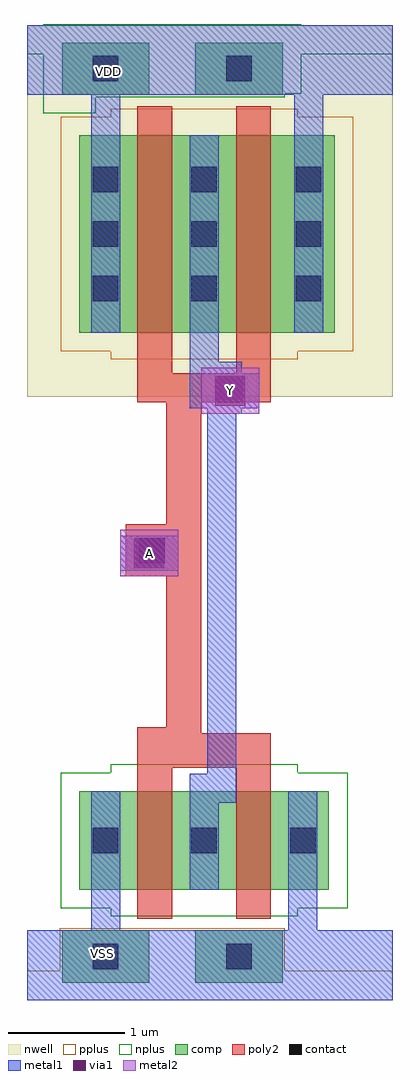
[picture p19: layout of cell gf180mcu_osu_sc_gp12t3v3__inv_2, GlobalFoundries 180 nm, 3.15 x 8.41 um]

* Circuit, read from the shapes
.subckt gf180mcu_osu_sc_gp12t3v3__inv_2 A VDD VSS Y
XM1 Y A VSS VSS nfet_03v3 w=0.85u l=0.3u m=2
XM2 Y A VDD VDD pfet_03v3 w=1.7u l=0.3u m=2
.ends

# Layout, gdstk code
import gdstk
lib = gdstk.Library(unit=1e-6, precision=1e-09)
def R(c, l, rs):  # rectangles x0, y0, x1, y1
    for r in rs: c.add(gdstk.rectangle(r[:2], r[2:], *l))
def A(c, l, x, y, w, h, nx, ny, dx, dy):  # array of equal rectangles
    R(c, l, [(x+i*dx, y+j*dy, x+i*dx+w, y+j*dy+h) for i in range(nx) for j in range(ny)])
nwell = (21, 0)
comp = (22, 0)
poly2 = (30, 0)
pplus = (31, 0)
nplus = (32, 0)
contact = (33, 0)
metal1 = (34, 0)
via1 = (35, 0)
metal2 = (36, 0)

gf180mcu_osu_sc_gp12t3v3 = lib.new_cell('gf180mcu_osu_sc_gp12t3v3__inv_2')
R(gf180mcu_osu_sc_gp12t3v3, nwell, [(0,5.2,3.15,8.4)])
R(gf180mcu_osu_sc_gp12t3v3, comp, [(0.3,0.15,1.05,0.6), (1.45,0.15,2.2,0.6), (0.45,0.95,2.6,1.8), (0.45,5.75,2.65,7.45), (0.3,7.8,1.05,8.25), (1.45,7.8,2.2,8.25)])
R(gf180mcu_osu_sc_gp12t3v3, poly2, [(0.95,0.7,1.25,2), (1.8,0.7,2.1,2), (0.95,2,2.1,2.3), (0.95,2.3,1.5,2.35), (1.2,2.35,1.5,3.65), (0.85,3.65,1.5,4.1), (1.2,4.1,1.5,5.15), (0.95,5.15,2.1,5.4), (0.95,5.4,1.25,7.7), (1.8,5.4,2.1,7.7)])
R(gf180mcu_osu_sc_gp12t3v3, pplus, [(0,0,3.15,0.25), (0.28,0.13,2.22,0.62), (0.72,5.52,2.33,5.59), (0.29,5.59,2.81,7.61), (0.72,7.61,2.33,7.68)])
R(gf180mcu_osu_sc_gp12t3v3, nplus, [(0.72,0.72,2.33,0.79), (0.29,0.79,2.76,1.96), (0.72,1.96,2.33,2.03), (0.14,7.64,0.59,7.78), (0.14,7.78,2.22,7.81), (0.14,7.81,2.36,8.15), (0,8.15,3.15,8.4), (0,8.15,3.15,8.4), (0.14,8.4,2.36,8.41)])
A(gf180mcu_osu_sc_gp12t3v3, contact, 0.565, 1.265, 0.22, 0.22, 3, 1, 0.85, 0)
A(gf180mcu_osu_sc_gp12t3v3, contact, 0.565, 6.02, 0.22, 0.22, 1, 3, 0, 0.47)
A(gf180mcu_osu_sc_gp12t3v3, contact, 1.415, 6.02, 0.22, 0.22, 1, 3, 0, 0.47)
A(gf180mcu_osu_sc_gp12t3v3, contact, 2.315, 6.02, 0.22, 0.22, 1, 3, 0, 0.47)
R(gf180mcu_osu_sc_gp12t3v3, contact, [(0.565,0.265,0.785,0.485), (1.715,0.265,1.935,0.485), (0.965,3.765,1.185,3.985), (0.565,7.915,0.785,8.135), (1.715,7.915,1.935,8.135)])
R(gf180mcu_osu_sc_gp12t3v3, metal1, [(0,0,3.15,0.6), (0.55,0.6,0.8,1.8), (2.25,0.6,2.5,1.8), (1.4,0.95,1.65,1.7), (1.4,1.7,1.8,1.95), (1.55,1.95,1.8,5.05), (0.8,3.7,1.3,4), (1.55,5.05,1.85,5.1), (1.4,5.1,2,5.4), (1.4,5.4,1.85,5.5), (1.4,5.5,1.65,7.45), (0.55,5.75,0.8,7.8), (2.3,5.75,2.55,7.8), (0,7.8,3.15,8.4)])
R(gf180mcu_osu_sc_gp12t3v3, via1, [(0.92,3.72,1.18,3.98), (1.62,5.12,1.88,5.38)])
R(gf180mcu_osu_sc_gp12t3v3, metal2, [(0.8,3.65,1.3,4.05), (1.5,5.05,2,5.45)])
gf180mcu_osu_sc_gp12t3v3.add(gdstk.Label('A', (1.05,3.85), layer=36, texttype=10))
gf180mcu_osu_sc_gp12t3v3.add(gdstk.Label('Y', (1.75,5.25), layer=36, texttype=10))
gf180mcu_osu_sc_gp12t3v3.add(gdstk.Label('VDD', (0.7,8), layer=34, texttype=10))
gf180mcu_osu_sc_gp12t3v3.add(gdstk.Label('VSS', (0.65,0.4), layer=34, texttype=10))

lib.write_gds('gf180mcu_osu_sc_gp12t3v3__inv_2.gds')
